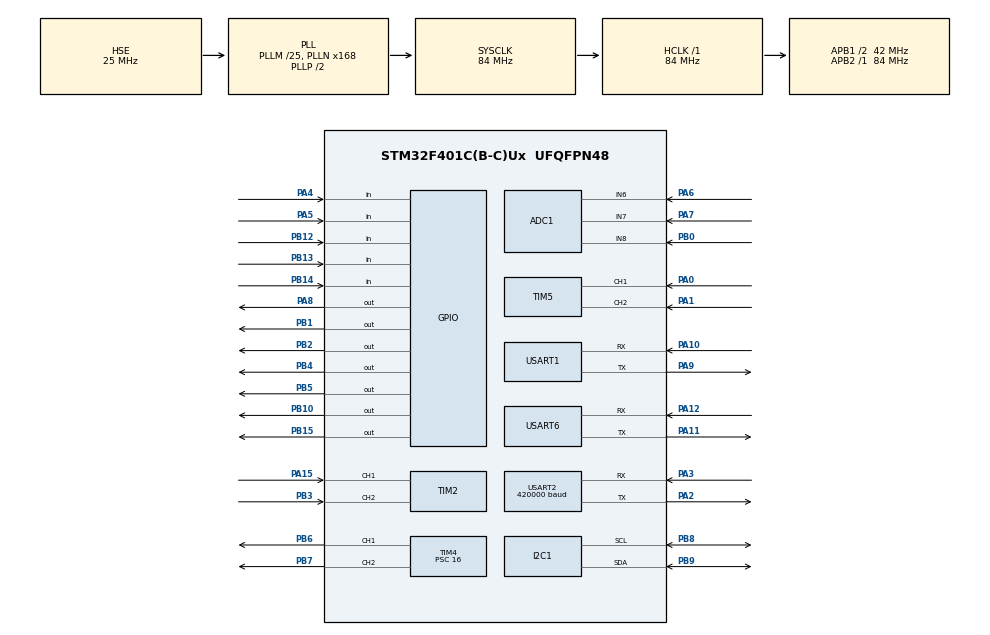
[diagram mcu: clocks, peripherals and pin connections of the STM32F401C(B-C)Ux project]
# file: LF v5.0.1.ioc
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ADC1.Channel-0\#ChannelRegularConversion=ADC_CHANNEL_6
ADC1.Channel-1\#ChannelRegularConversion=ADC_CHANNEL_7
ADC1.Channel-2\#ChannelRegularConversion=ADC_CHANNEL_8
ADC1.ClockPrescaler=ADC_CLOCK_SYNC_PCLK_DIV8
ADC1.ContinuousConvMode=ENABLE
ADC1.DMAContinuousRequests=ENABLE
ADC1.NbrOfConversion=3
ADC1.NbrOfConversionFlag=1
ADC1.Rank-0\#ChannelRegularConversion=1
ADC1.Rank-1\#ChannelRegularConversion=2
ADC1.Rank-2\#ChannelRegularConversion=3
ADC1.SamplingTime-0\#ChannelRegularConversion=ADC_SAMPLETIME_480CYCLES
ADC1.SamplingTime-1\#ChannelRegularConversion=ADC_SAMPLETIME_480CYCLES
ADC1.SamplingTime-2\#ChannelRegularConversion=ADC_SAMPLETIME_480CYCLES
ADC1.ScanConvMode=ENABLE
ADC1.master=1
Dma.ADC1.1.Direction=DMA_PERIPH_TO_MEMORY
Dma.ADC1.1.FIFOMode=DMA_FIFOMODE_DISABLE
Dma.ADC1.1.Instance=DMA2_Stream0
Dma.ADC1.1.MemDataAlignment=DMA_MDATAALIGN_WORD
Dma.ADC1.1.MemInc=DMA_MINC_ENABLE
Dma.ADC1.1.Mode=DMA_CIRCULAR
Dma.ADC1.1.PeriphDataAlignment=DMA_PDATAALIGN_WORD
Dma.ADC1.1.PeriphInc=DMA_PINC_DISABLE
Dma.ADC1.1.Priority=DMA_PRIORITY_LOW
Dma.Request0=USART2_RX
Dma.Request1=ADC1
Dma.USART2_RX.0.Direction=DMA_PERIPH_TO_MEMORY
Dma.USART2_RX.0.FIFOMode=DMA_FIFOMODE_DISABLE
Dma.USART2_RX.0.Instance=DMA1_Stream5
Dma.USART2_RX.0.MemDataAlignment=DMA_MDATAALIGN_BYTE
Dma.USART2_RX.0.MemInc=DMA_MINC_ENABLE
Dma.USART2_RX.0.Mode=DMA_CIRCULAR
Dma.USART2_RX.0.PeriphDataAlignment=DMA_PDATAALIGN_BYTE
Dma.USART2_RX.0.PeriphInc=DMA_PINC_DISABLE
Dma.USART2_RX.0.Priority=DMA_PRIORITY_LOW
I2C1.I2C_Mode=I2C_Fast
Mcu.Family=STM32F4
Mcu.Name=STM32F401C(B-C)Ux
Mcu.Package=UFQFPN48
NVIC.ADC_IRQn=true\:0\:0\:false\:false\:true\:true\:true
NVIC.DMA1_Stream5_IRQn=true\:0\:0\:false\:false\:true\:false\:true
NVIC.DMA2_Stream0_IRQn=true\:0\:0\:false\:false\:true\:false\:true
NVIC.I2C1_EV_IRQn=true\:0\:0\:false\:false\:true\:true\:true
NVIC.PriorityGroup=NVIC_PRIORITYGROUP_4
NVIC.TIM3_IRQn=true\:0\:0\:false\:false\:true\:true\:true
NVIC.USART1_IRQn=true\:0\:0\:false\:false\:true\:true\:true
NVIC.USART2_IRQn=true\:0\:0\:false\:false\:true\:true\:true
NVIC.USART6_IRQn=true\:0\:0\:false\:false\:true\:true\:true
PA0-WKUP.Signal=S_TIM5_CH1
PA1.Signal=S_TIM5_CH2
PA10.Mode=Asynchronous
PA10.Signal=USART1_RX
PA11.Mode=Asynchronous
PA11.Signal=USART6_TX
PA12.Mode=Asynchronous
PA12.Signal=USART6_RX
PA13.Mode=Serial_Wire
PA13.Signal=SYS_JTMS-SWDIO
PA14.Mode=Serial_Wire
PA14.Signal=SYS_JTCK-SWCLK
PA15.Signal=S_TIM2_CH1_ETR
PA2.Mode=Asynchronous
PA2.Signal=USART2_TX
PA3.Mode=Asynchronous
PA3.Signal=USART2_RX
PA4.GPIO_PuPd=GPIO_PULLDOWN
PA4.Signal=GPIO_Input
PA5.GPIO_PuPd=GPIO_PULLDOWN
PA5.Signal=GPIO_Input
PA6.GPIO_PuPd=GPIO_NOPULL
PA6.Signal=ADCx_IN6
PA7.Signal=ADCx_IN7
PA8.GPIO_ModeDefaultOutputPP=GPIO_MODE_OUTPUT_OD
PA8.Signal=GPIO_Output
PA9.Mode=Asynchronous
PA9.Signal=USART1_TX
PB0.Signal=ADCx_IN8
PB1.GPIO_ModeDefaultOutputPP=GPIO_MODE_OUTPUT_OD
PB1.Signal=GPIO_Output
PB10.GPIO_ModeDefaultOutputPP=GPIO_MODE_OUTPUT_OD
PB10.Signal=GPIO_Output
PB12.GPIO_PuPd=GPIO_PULLDOWN
PB12.Signal=GPIO_Input
PB13.GPIO_PuPd=GPIO_PULLDOWN
PB13.Signal=GPIO_Input
PB14.GPIO_PuPd=GPIO_PULLDOWN
PB14.Signal=GPIO_Input
PB15.Signal=GPIO_Output
PB2.GPIO_ModeDefaultOutputPP=GPIO_MODE_OUTPUT_OD
PB2.Signal=GPIO_Output
PB3.Signal=S_TIM2_CH2
PB4.Signal=GPIO_Output
PB5.Signal=GPIO_Output
PB6.Signal=S_TIM4_CH1
PB7.Signal=S_TIM4_CH2
PB8.Mode=I2C
PB8.Signal=I2C1_SCL
PB9.Mode=I2C
PB9.Signal=I2C1_SDA
PH0\ -\ OSC_IN.Mode=HSE-External-Oscillator
PH0\ -\ OSC_IN.Signal=RCC_OSC_IN
PH1\ -\ OSC_OUT.Mode=HSE-External-Oscillator
PH1\ -\ OSC_OUT.Signal=RCC_OSC_OUT
ProjectManager.HeapSize=0x200
ProjectManager.StackSize=0x400
ProjectManager.TargetToolchain=STM32CubeIDE
RCC.48MHZClocksFreq_Value=24000000
RCC.AHBFreq_Value=84000000
RCC.APB1CLKDivider=RCC_HCLK_DIV2
RCC.APB1Freq_Value=42000000
RCC.APB1TimFreq_Value=84000000
RCC.APB2Freq_Value=84000000
RCC.APB2TimFreq_Value=84000000
RCC.CortexFreq_Value=84000000
RCC.HCLKFreq_Value=84000000
RCC.HSE_VALUE=25000000
RCC.HSI_VALUE=16000000
RCC.LSE_VALUE=32768
RCC.PLLM=25
RCC.PLLN=168
RCC.PLLQ=7
RCC.PLLSourceVirtual=RCC_PLLSOURCE_HSE
RCC.SYSCLKFreq_VALUE=84000000
RCC.SYSCLKSource=RCC_SYSCLKSOURCE_PLLCLK
RCC.VCOOutputFreq_Value=168000000
SH.ADCx_IN6.0=ADC1_IN6,IN6
SH.ADCx_IN7.0=ADC1_IN7,IN7
SH.ADCx_IN8.0=ADC1_IN8,IN8
SH.S_TIM2_CH1_ETR.0=TIM2_CH1,Encoder_Interface
SH.S_TIM2_CH2.0=TIM2_CH2,Encoder_Interface
SH.S_TIM4_CH1.0=TIM4_CH1,PWM Generation1 CH1
SH.S_TIM4_CH2.0=TIM4_CH2,PWM Generation2 CH2
SH.S_TIM5_CH1.0=TIM5_CH1,Encoder_Interface
SH.S_TIM5_CH2.0=TIM5_CH2,Encoder_Interface
TIM2.EncoderMode=TIM_ENCODERMODE_TI12
TIM2.IC1Filter=15
TIM2.IC2Filter=15
TIM3.Period=20000
TIM3.Prescaler=41
TIM4.Channel-PWM\ Generation1\ CH1=TIM_CHANNEL_1
TIM4.Channel-PWM\ Generation2\ CH2=TIM_CHANNEL_2
TIM4.Period=499
TIM4.Prescaler=16
TIM5.EncoderMode=TIM_ENCODERMODE_TI12
TIM5.IC1Filter=15
TIM5.IC2Filter=15
USART1.VirtualMode=VM_ASYNC
USART2.BaudRate=420000
USART2.VirtualMode=VM_ASYNC
USART6.VirtualMode=VM_ASYNC
VP_TIM3_VS_ClockSourceINT.Mode=Internal
board=custom

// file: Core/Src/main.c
/* USER CODE BEGIN Header */
/**
  ******************************************************************************
  * @file           : main.c
  * @brief          : Main program body
  ******************************************************************************
  * @attention
  *
  * <h2><center>&copy; Copyright (c) 2022 STMicroelectronics.
  * All rights reserved.</center></h2>
  *
  * This software component is licensed by ST under BSD 3-Clause license,
  * the "License"; You may not use this file except in compliance with the
  * License. You may obtain a copy of the License at:
  *                        opensource.org/licenses/BSD-3-Clause
  *
  ******************************************************************************
  */
/* USER CODE END Header */
#include "main.h"
#include "adc.h"
#include "dma.h"
#include "i2c.h"
#include "tim.h"
#include "usart.h"
#include "gpio.h"

/* USER CODE BEGIN Includes */
#include "radio.h"
#include "motor.h"
#include "adc_callback.h"
#include "i2c_dev.h"

#include "stdio.h"
#include "stdlib.h"
/* USER CODE END Includes */

/* USER CODE BEGIN PV */
uint32_t tim_int = 0;
uint32_t uart_int = 0;

uint8_t button;
/* USER CODE END PV */

void SystemClock_Config(void);

int main(void)
{

  /* MCU Configuration--------------------------------------------------------*/

  /* Reset of all peripherals, Initializes the Flash interface and the Systick. */
  HAL_Init();

  /* Configure the system clock */
  SystemClock_Config();

  /* Initialize all configured peripherals */
  MX_GPIO_Init();
  MX_DMA_Init();
  MX_USART2_UART_Init();
  MX_TIM3_Init();
  MX_ADC1_Init();
  MX_TIM2_Init();
  MX_TIM4_Init();
  MX_TIM5_Init();
  MX_USART1_UART_Init();
  MX_I2C1_Init();
  MX_USART6_UART_Init();
  /* USER CODE BEGIN 2 */

  HAL_TIM_Encoder_Start(&htim2, TIM_CHANNEL_ALL);
  HAL_TIM_Encoder_Start(&htim5, TIM_CHANNEL_ALL);

  HAL_TIM_PWM_Start(&htim4, TIM_CHANNEL_1);
  HAL_TIM_PWM_Start(&htim4, TIM_CHANNEL_2);

  HAL_GPIO_WritePin(GPIOB, GPIO_PIN_5, 0);
  HAL_GPIO_WritePin(GPIOB, GPIO_PIN_4, 0);

  HAL_TIM_Base_Start_IT(&htim3);
  HAL_UART_Receive_DMA(&huart2, &serial_byte, 1);

  HAL_ADC_Start_DMA(&hadc1, (uint32_t*)&buf_adc, 3);

  EEPROM_write();
  /* USER CODE END 2 */

  /* Infinite loop */
  /* USER CODE BEGIN WHILE */
  while (1)
  {
	  button = 0;
	  button |= HAL_GPIO_ReadPin(GPIOB, GPIO_PIN_12) << 0;
	  button |= HAL_GPIO_ReadPin(GPIOB, GPIO_PIN_13) << 1;
	  button |= HAL_GPIO_ReadPin(GPIOB, GPIO_PIN_14) << 2;
	  button |= HAL_GPIO_ReadPin(GPIOA, GPIO_PIN_4) << 3;
	  button |= HAL_GPIO_ReadPin(GPIOA, GPIO_PIN_5) << 4;

	  HAL_Delay(100);
    /* USER CODE END WHILE */

  }
}

void SystemClock_Config(void)
{
  RCC_OscInitTypeDef RCC_OscInitStruct = {0};
  RCC_ClkInitTypeDef RCC_ClkInitStruct = {0};

  /** Configure the main internal regulator output voltage
  */
  __HAL_RCC_PWR_CLK_ENABLE();
  __HAL_PWR_VOLTAGESCALING_CONFIG(PWR_REGULATOR_VOLTAGE_SCALE2);
  /** Initializes the RCC Oscillators according to the specified parameters
  * in the RCC_OscInitTypeDef structure.
  */
  RCC_OscInitStruct.OscillatorType = RCC_OSCILLATORTYPE_HSE;
  RCC_OscInitStruct.HSEState = RCC_HSE_ON;
  RCC_OscInitStruct.PLL.PLLState = RCC_PLL_ON;
  RCC_OscInitStruct.PLL.PLLSource = RCC_PLLSOURCE_HSE;
  RCC_OscInitStruct.PLL.PLLM = 25;
  RCC_OscInitStruct.PLL.PLLN = 168;
  RCC_OscInitStruct.PLL.PLLP = RCC_PLLP_DIV2;
  RCC_OscInitStruct.PLL.PLLQ = 7;
  if (HAL_RCC_OscConfig(&RCC_OscInitStruct) != HAL_OK)
  {
    Error_Handler();
  }
  /** Initializes the CPU, AHB and APB buses clocks
  */
  RCC_ClkInitStruct.ClockType = RCC_CLOCKTYPE_HCLK|RCC_CLOCKTYPE_SYSCLK
                              |RCC_CLOCKTYPE_PCLK1|RCC_CLOCKTYPE_PCLK2;
  RCC_ClkInitStruct.SYSCLKSource = RCC_SYSCLKSOURCE_PLLCLK;
  RCC_ClkInitStruct.AHBCLKDivider = RCC_SYSCLK_DIV1;
  RCC_ClkInitStruct.APB1CLKDivider = RCC_HCLK_DIV2;
  RCC_ClkInitStruct.APB2CLKDivider = RCC_HCLK_DIV1;

  if (HAL_RCC_ClockConfig(&RCC_ClkInitStruct, FLASH_LATENCY_2) != HAL_OK)
  {
    Error_Handler();
  }
}

/* USER CODE BEGIN 4 */
void HAL_TIM_PeriodElapsedCallback(TIM_HandleTypeDef* htim){
   	if(htim->Instance == TIM3){
   		tim_int++;
   		Motor();
   	}
}
/* USER CODE END 4 */

void Error_Handler(void)
{
  __disable_irq();
  while (1)
  {
  }
}

/************************ (C) COPYRIGHT STMicroelectronics *****END OF FILE****/
